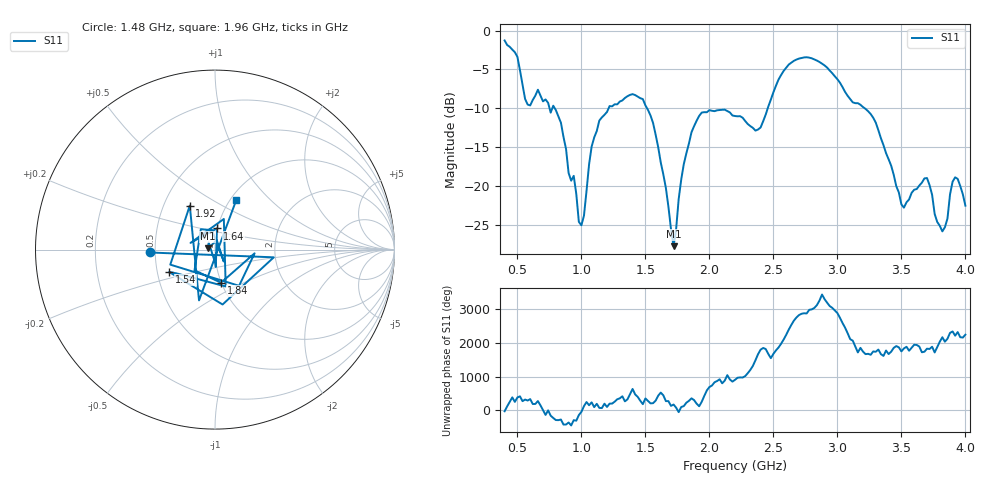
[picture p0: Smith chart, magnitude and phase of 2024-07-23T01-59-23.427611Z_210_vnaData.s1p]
!Created with skrf (http://scikit-rf.org).
# Hz S RI R 50.0
!freq ReS11 ImS11
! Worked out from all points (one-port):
!   181 points, 400 MHz to 4 GHz, reference 50 ohm
!   lowest |S11| = -27.7 dB at 1.72 GHz (marker M1), VSWR 1.09, Z = 46.1 + j0.583 ohm
!   |S11| at or under -10 dB: 792 MHz to 1.213 GHz (420.5 MHz wide, 42 % of centre); 1.513 GHz to 2.456 GHz (942.8 MHz wide, 47.5 % of centre); 3.213 GHz to end of sweep (the widest 3 of 4)
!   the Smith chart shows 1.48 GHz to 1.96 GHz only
!   S11 on the Smith chart (normalised r, x): 1.48 GHz: 0.47, -0.02; 1.54 GHz: 0.58, -0.16; 1.64 GHz: 0.99, +0.24; 1.84 GHz: 1.00, -0.38; 1.92 GHz: 0.68, +0.36; 1.96 GHz: 1.07, +0.64
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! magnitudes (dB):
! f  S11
! 400 MHz  -1.3
! 500 MHz  -3.4
! 580 MHz  -9.5
! 660 MHz  -7.6
! 860 MHz  -13.7
! 1 GHz  -25.1
! 1.08 GHz  -14.9
! 1.14 GHz  -11.6
! 1.3 GHz  -9.1
! 1.48 GHz  -8.8
! 1.54 GHz  -10.9
! 1.64 GHz  -18.5
! 1.72 GHz  -27.7
! 1.76 GHz  -21.7
! 1.84 GHz  -14.5
! 1.92 GHz  -11.0
! 1.96 GHz  -10.5
! 2.2 GHz  -11.0
! 2.4 GHz  -12.5
! 2.66 GHz  -3.9
! 3.1 GHz  -8.8
! 3.28 GHz  -11.2
! 3.5 GHz  -22.4
! 3.56 GHz  -21.7
! 3.7 GHz  -19.0
! 3.82 GHz  -25.8
! 3.92 GHz  -18.9
! 4 GHz  -22.5
